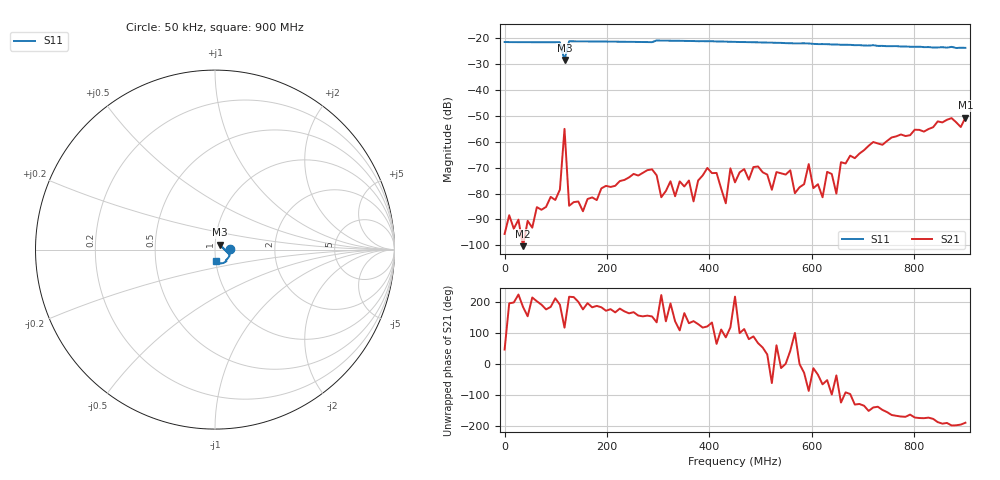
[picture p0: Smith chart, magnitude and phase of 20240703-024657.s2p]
# HZ S RI R 50
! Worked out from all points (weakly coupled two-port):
!   101 points, 50 kHz to 900 MHz, reference 50 ohm
!   highest |S21| = -50.61 dB at 900 MHz (marker M1); lowest = -100.3 dB at 36.05 MHz (marker M2)
!   lowest |S11| = -28.4 dB at 117 MHz (marker M3), VSWR 1.08, Z = 52.5 + j2.97 ohm
!   |S11| at or under -10 dB: start of sweep to end of sweep
!   S12 and S22 are empty: the file has one direction only
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50000  0.0849 0.00104  1.13e-05 1.22e-05  0 0  0 0
3.6048e7  0.084 -0.00853  -9.6e-06 -7.82e-07  0 0  0 0
1.08044e8  0.08 -0.025  -0.000117 -2.49e-05  0 0  0 0
1.170435e8  0.0256 0.0282  -0.000831 0.00157  0 0  0 0
1.26043e8  0.0825 -0.03  -4.6e-05 -3.54e-05  0 0  0 0
1.530415e8  0.0798 -0.0358  -4.54e-05 2.58e-06  0 0  0 0
2.88034e8  0.0599 -0.0595  -0.000264 0.000129  0 0  0 0
3.06033e8  0.0626 -0.0651  -6.2e-05 -5.82e-05  0 0  0 0
3.690295e8  0.0524 -0.0716  -5.32e-05 4.64e-05  0 0  0 0
3.96028e8  0.0479 -0.0738  -0.000165 0.000266  0 0  0 0
4.32026e8  0.0423 -0.0754  3.83e-06 6.48e-05  0 0  0 0
4.50025e8  0.0397 -0.0757  -0.00013 -0.000101  0 0  0 0
5.58019e8  0.026 -0.0761  0.000206 0.000193  0 0  0 0
5.670185e8  0.0248 -0.0759  -1.92e-05 9.99e-05  0 0  0 0
5.94017e8  0.0227 -0.0765  2.41e-05 -0.000371  0 0  0 0
6.030165e8  0.0217 -0.0751  0.000124 -2.82e-05  0 0  0 0
6.210155e8  0.0197 -0.0749  3.58e-05 -7.69e-05  0 0  0 0
6.30015e8  0.019 -0.0747  0.000164 -0.000205  0 0  0 0
6.48014e8  0.0178 -0.0739  8.07e-05 -5.89e-05  0 0  0 0
6.570135e8  0.0169 -0.0733  -0.000224 -0.000336  0 0  0 0
7.56008e8  0.0116 -0.0697  -0.00117 -0.000338  0 0  0 0
9e8  0.00555 -0.0653  -0.00291 0.000452  0 0  0 0
